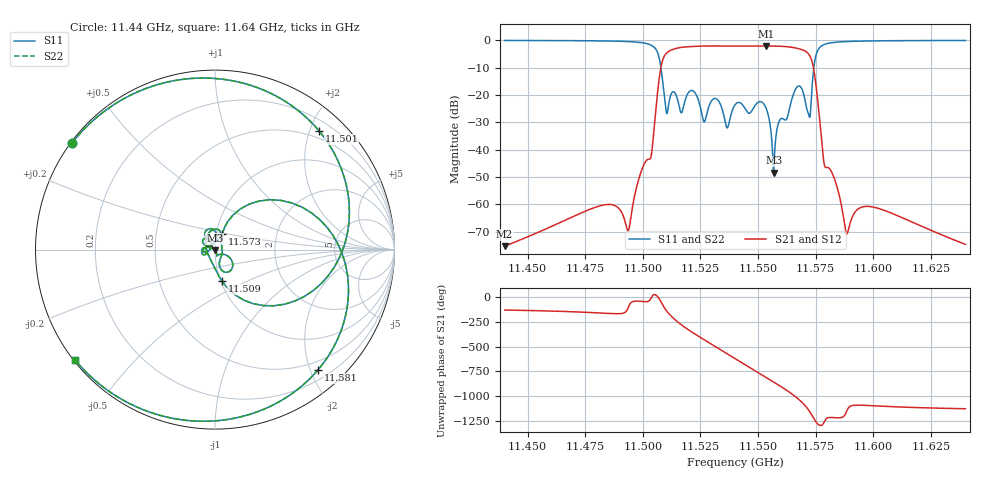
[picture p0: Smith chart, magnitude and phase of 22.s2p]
! This file was generated by CST Filter Designer 3D
! Date:  06.11.2025 15:50:30
# MHZ S RI R 50
!  Frequency  Re(S11)  Im(S11)  Re(S21)  Im(S21)  Re(S12)  Im(S12)  Re(S22)  Im(S22)
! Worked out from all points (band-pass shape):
!   1001 points, 11.44 GHz to 11.64 GHz, reference 50 ohm
!   highest |S21| = -2.08 dB at 11.554 GHz (marker M1); lowest = -75.4 dB at 11.44 GHz (marker M2)
!   |S21| within 3 dB of the highest: 11.51 GHz to 11.572 GHz (62.11 MHz wide, 0.538 % of centre)
!   lowest |S11| = -48.5 dB at 11.557 GHz (marker M3), VSWR 1.01, Z = 49.8 - j0.328 ohm
!   |S11| at or under -10 dB: 11.508 GHz to 11.574 GHz (66.36 MHz wide, 0.575 % of centre)
!   |S22| runs from -48.5 to -0.1 dB; largest |S21 - S12| = 0
!   S11 on the Smith chart (normalised r, x): 11.44 GHz: 0.00, +0.33; 11.501 GHz: 0.37, +2.15; 11.509 GHz: 1.01, -0.36; 11.573 GHz: 1.07, +0.19; 11.581 GHz: 0.35, -2.12; 11.64 GHz: 0.00, -0.35
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11440  -0.7943 0.5966  -0.000107 -0.000133  -0.000107 -0.000133  -0.7943 0.5966
11473.4  -0.5174 0.8355  -0.000604 -0.000348  -0.000604 -0.000348  -0.5174 0.8355
11493.6  0.0733 0.945  -9.39e-05 -0.000311  -9.39e-05 -0.000311  0.0733 0.945
11501.2  0.5794 0.6619  0.00426 -0.00429  0.00426 -0.00429  0.5794 0.6619
11506.8  0.4464 -0.2859  0.1586 -0.0125  0.1586 -0.0125  0.4464 -0.2859
11508.6  0.0378 -0.1736  0.1 -0.4237  0.1 -0.4237  0.0378 -0.1736
11512.2  -0.0316 0.0966  -0.6529 0.0933  -0.6529 0.0933  -0.0316 0.0966
11516.6  -0.00177 0.0471  0.0867 0.7367  0.0867 0.7367  -0.00177 0.0471
11522.2  -0.0147 0.1144  0.7682 -0.0827  0.7682 -0.0827  -0.0147 0.1144
11528.8  -0.0579 0.0268  -0.154 -0.7716  -0.154 -0.7716  -0.0579 0.0268
11540  -0.0646 -0.012  -0.1304 0.7734  -0.1304 0.7734  -0.0646 -0.012
11546.8  -0.0456 -0.0147  0.7864 0.0345  0.7864 0.0345  -0.0456 -0.0147
11553.6  -0.0551 0.00899  -0.0435 -0.7862  -0.0435 -0.7862  -0.0551 0.00899
11556.8  -0.00181 -0.00329  -0.589 -0.519  -0.589 -0.519  -0.00181 -0.00329
11565  0.0818 -0.0447  -0.0565 0.7388  -0.0565 0.7388  0.0818 -0.0447
11569.4  0.0351 -0.1125  0.6599 0.0897  0.6599 0.0897  0.0351 -0.1125
11573.2  0.0411 0.0872  -0.137 -0.4195  -0.137 -0.4195  0.0411 0.0872
11573.4  0.0519 0.1201  -0.1836 -0.3715  -0.1836 -0.3715  0.0519 0.1201
11580.6  0.5738 -0.6702  -0.00354 -0.00301  -0.00354 -0.00301  0.5738 -0.6702
11588.6  0.0579 -0.9481  0.000107 -0.000265  0.000107 -0.000265  0.0579 -0.9481
11606.8  -0.4832 -0.8542  0.000637 -0.000329  0.000637 -0.000329  -0.4832 -0.8542
11640  -0.7815 -0.6126  0.000119 -0.000141  0.000119 -0.000141  -0.7815 -0.6126
